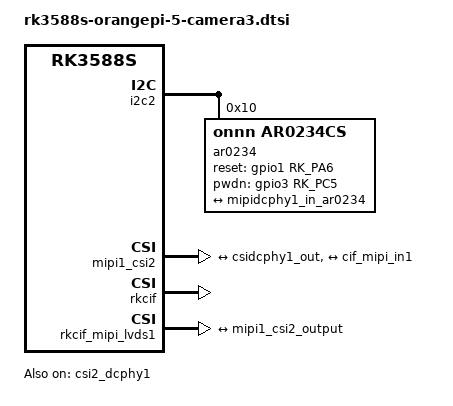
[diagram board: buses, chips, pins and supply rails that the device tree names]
// SPDX-License-Identifier: (GPL-2.0+ OR MIT)
/*
 * Copyright (c) 2021 Rockchip Electronics Co., Ltd.
 *
 */

&csi2_dcphy1 {
	status = "okay";
	ports {
		#address-cells = <1>;
		#size-cells = <0>;

		port@0 {
			reg = <0>;
			#address-cells = <1>;
			#size-cells = <0>;

			mipidcphy1_in_ar0234: endpoint@0 {
				reg = <0>;
				remote-endpoint = <&ar0234_out1>;
				data-lanes = <1 2 3 4>;
			};
		};

		port@1 {
			reg = <1>;
			#address-cells = <1>;
			#size-cells = <0>;

			csidcphy1_out: endpoint@0 {
				reg = <0>;
				remote-endpoint = <&mipi1_csi2_input>;
			};
		};
	};
};

&i2c2 {
	status = "okay";

	ar0234: camera@10 {
		compatible = "onnn,ar0234cs";
		status = "okay";
		reg = <0x10>;

		clocks = <&cru CLK_MIPI_CAMARAOUT_M4>;
		clock-names = "xvclk";

		reset-gpios = <&gpio1 RK_PA6 GPIO_ACTIVE_HIGH>;
		pwdn-gpios = <&gpio3 RK_PC5 GPIO_ACTIVE_HIGH>;

		rockchip,camera-module-index = <0>;
		rockchip,camera-module-facing = "front";
		rockchip,camera-module-name = "ar0234";
		rockchip,camera-module-lens-name = "default";

		/* 黑白传感器 */
		sensor-type = <1>;

		port {
			ar0234_out1: endpoint {
				remote-endpoint = <&mipidcphy1_in_ar0234>;
				data-lanes = <1 2 3 4>;
				link-frequencies = /bits/ 64 <450000000>;
			};
		};
	};
};

&mipi1_csi2 {
	status = "okay";
	ports {
		#address-cells = <1>;
		#size-cells = <0>;

		port@0 {
			reg = <0>;
			#address-cells = <1>;
			#size-cells = <0>;

			mipi1_csi2_input: endpoint@1 {
				reg = <1>;
				remote-endpoint = <&csidcphy1_out>;
			};
		};

		port@1 {
			reg = <1>;
			#address-cells = <1>;
			#size-cells = <0>;

			mipi1_csi2_output: endpoint@0 {
				reg = <0>;
				remote-endpoint = <&cif_mipi_in1>;
			};
		};
	};
};

&rkcif {
	status = "okay";
};

&rkcif_mipi_lvds1 {
	status = "okay";
	port {
		cif_mipi_in1: endpoint {
			remote-endpoint = <&mipi1_csi2_output>;
		};
	};
};

&rkcif_mipi_lvds1_sditf {
	status = "disabled";

	        port {
                mipi1_lvds_sditf: endpoint {
                        remote-endpoint = <&isp1_in0>;
                };
        };
};

&rkcif_mmu {
	status = "okay";
};

&rkisp1_vir0 {
	status = "disabled";

	port {
		#address-cells = <1>;
		#size-cells = <0>;

		isp1_in0: endpoint@0 {
			reg = <0>;
			remote-endpoint = <&mipi1_lvds_sditf>;
		};
	};
};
